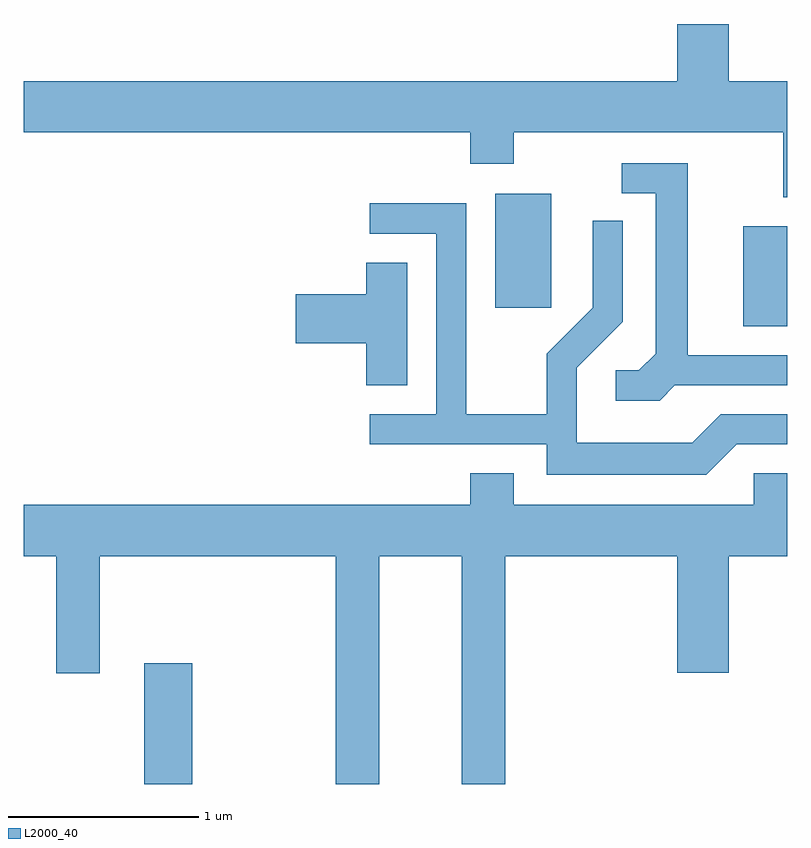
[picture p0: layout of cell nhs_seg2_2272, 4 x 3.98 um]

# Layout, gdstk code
import gdstk
lib = gdstk.Library(unit=1e-6, precision=1e-09)
def R(c, l, rs):  # rectangles x0, y0, x1, y1
    for r in rs: c.add(gdstk.rectangle(r[:2], r[2:], *l))
def P(c, l, *ps):  # polygons
    for p in ps: c.add(gdstk.Polygon(p, *l))
L2000_40 = (2000, 40)

nhs_seg2_2272 = lib.new_cell('nhs_seg2_2272')
R(nhs_seg2_2272, L2000_40, [(252.241,1033.802,252.494,1034.434), (255.381,1036.201,255.611,1036.724), (254.081,1036.296,254.374,1036.894)])
P(nhs_seg2_2272, L2000_40, [(255.611,1037.484),(255.304,1037.484),(255.304,1037.784),(255.036,1037.784),(255.036,1037.484),(251.611,1037.484),(251.611,1037.216),(253.951,1037.216),(253.951,1037.051),(254.179,1037.051),(254.179,1037.216),(255.591,1037.216),(255.591,1036.876),(255.611,1036.876)],
  [(255.022,1035.891),(255.611,1035.891),(255.611,1036.049),(255.089,1036.049),(255.089,1037.054),(254.743,1037.054),(254.743,1036.896),(254.921,1036.896),(254.921,1036.056),(254.834,1035.969),(254.713,1035.969),(254.713,1035.811),(254.942,1035.811)],
  [(255.347,1035.581),(255.611,1035.581),(255.611,1035.739),(255.264,1035.739),(255.114,1035.589),(254.509,1035.589),(254.509,1035.984),(254.749,1036.224),(254.749,1036.753),(254.591,1036.753),(254.591,1036.296),(254.351,1036.056),(254.351,1035.739),(253.929,1035.739),(253.929,1036.844),(253.423,1036.844),(253.423,1036.686),(253.771,1036.686),(253.771,1035.739),(253.423,1035.739),(253.423,1035.581),(254.351,1035.581),(254.351,1035.421),(255.187,1035.421)],
  [(253.619,1036.534),(253.406,1036.534),(253.406,1036.369),(253.036,1036.369),(253.036,1036.111),(253.406,1036.111),(253.406,1035.891),(253.619,1035.891)],
  [(253.474,1034.996),(253.906,1034.996),(253.906,1033.802),(254.134,1033.802),(254.134,1034.996),(255.036,1034.996),(255.036,1034.386),(255.304,1034.386),(255.304,1034.996),(255.611,1034.996),(255.611,1035.429),(255.436,1035.429),(255.436,1035.264),(254.179,1035.264),(254.179,1035.429),(253.951,1035.429),(253.951,1035.264),(251.611,1035.264),(251.611,1034.996),(251.781,1034.996),(251.781,1034.381),(252.009,1034.381),(252.009,1034.996),(253.246,1034.996),(253.246,1033.802),(253.474,1033.802)])

lib.write_gds('nhs_seg2_2272.gds')
